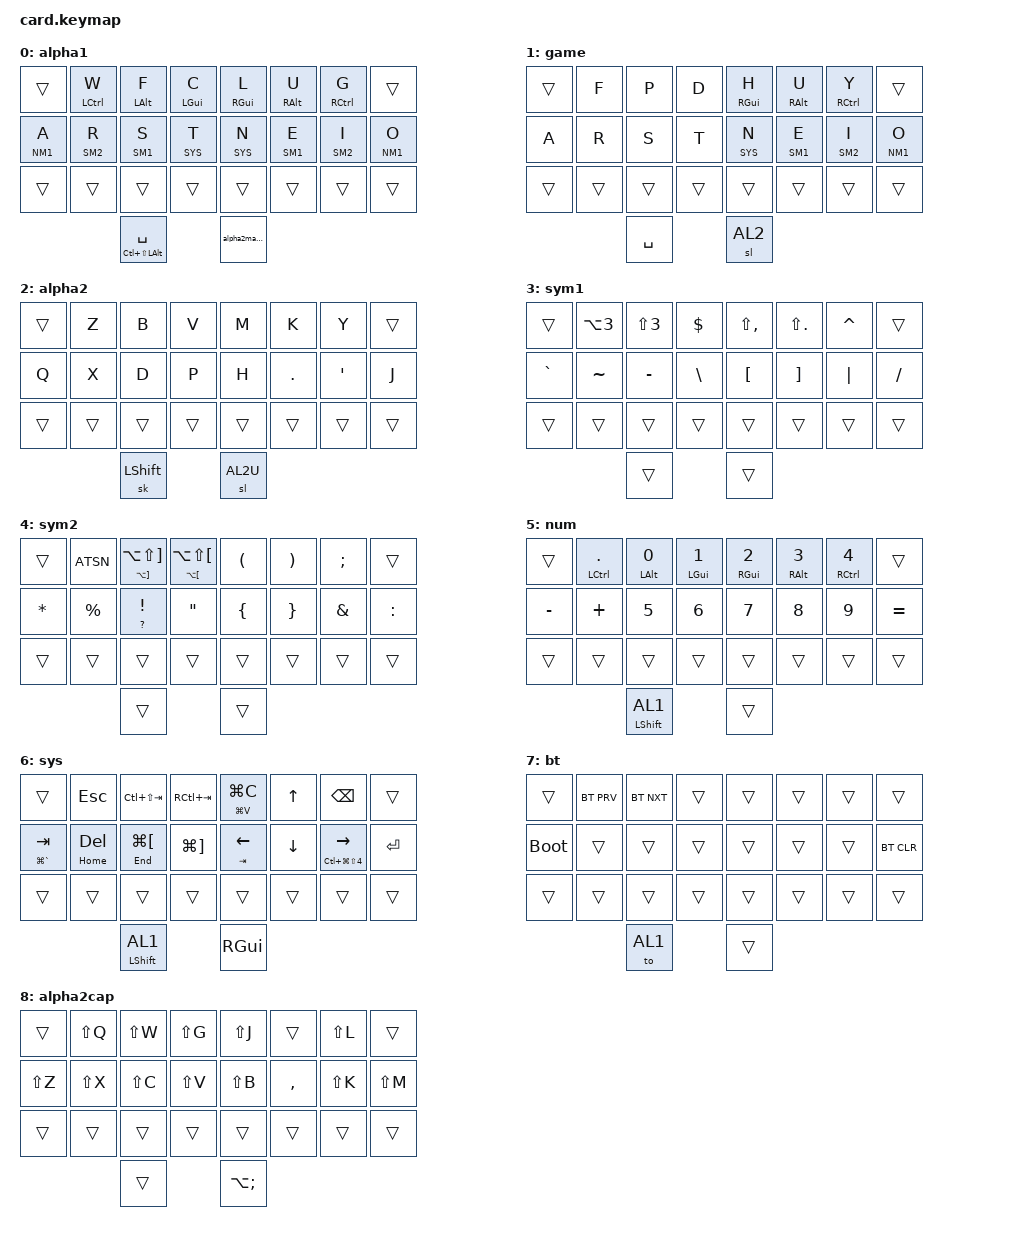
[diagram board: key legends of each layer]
/*
 * Copyright (c) 2020 The ZMK Contributors
 *
 * SPDX-License-Identifier: MIT
 */

#include <behaviors.dtsi>
#include <dt-bindings/zmk/keys.h>
#include <dt-bindings/zmk/bt.h>
#include <dt-bindings/zmk/mouse.h>



&mt {
    tapping-term-ms = <201>;
    flavor = "tap-preferred";
 };
&sk {
     release-after-ms = <2000>;
     quick-release;
 };
 
/* Layers */
#define AL1 0
#define GM 1
#define AL2 2
#define AL2U 8
#define SM1 3
#define SM2 4	
#define NM1 5	
#define SYS 6
#define BT 7	
/ { 
    combos {
        compatible = "zmk,combos";
        combo_game {
            timeout-ms = <30>;
	    key-positions = <2 3 4 5>;
            bindings = <&to GM>;
        };
        combo_sys {
            timeout-ms = <30>;
	    key-positions = <4 5 6>;
            bindings = <&to SYS>;
        };
        combo_caps {
            timeout-ms = <30>;
	    key-positions = <12 13 14>;
            bindings = <&caps_word>;
        };
        combo_bt  {
            timeout-ms = <10>;
            key-positions = <13 14>;
            bindings = <&to BT>;
	    layers = <SM1>; 
        };
        lalt {
            timeout-ms = <20>;
	    key-positions = <10 11>;
            bindings = <&kp LALT>; 
	    layers = <SYS>; 
        };
        lclk {
            timeout-ms = <20>;
	    key-positions = <12	13>;
            bindings = <&mkp LCLK>;
	    layers = <SYS>;
        };
        rclk {
            timeout-ms = <20>;
	    key-positions = <4 5>;
            bindings = <&mkp RCLK>;
	    layers = <SYS>;
        };


    };

    behaviors {
        hm: homerow_mods {
            compatible = "zmk,behavior-hold-tap";
            label = "HOMEROW_MODS";
            #binding-cells = <2>;
            tapping-term-ms = <300>;
            quick_tap_ms = <0>;
            flavor = "tap-preferred";
            bindings = <&kp>, <&kp>;
        };
        sr: shift_layer {
            compatible = "zmk,behavior-hold-tap";
            label = "SHIFT_LAYER";
            #binding-cells = <2>;
            tapping-term-ms = <300>;
            quick_tap_ms = <0>;
            flavor = "tap-preferred";
            bindings = <&kp>, <&to>;
	    retro-tap;
        };
        hl: homerow_layers {
            compatible = "zmk,behavior-hold-tap";
            label = "HOMEROW_LAYERS";
            #binding-cells = <2>;
            tapping-term-ms = <220>;
            quick_tap_ms = <0>;
            flavor = "tap-preferred";
            bindings = <&sl>, <&kp>;
        };
	td: tapdance {
            compatible = "zmk,behavior-hold-tap";
            label = "TAPDANCE";
            #binding-cells = <2>;
            tapping-term-ms = <190>;
            quick_tap_ms = <0>;
            flavor = "tap-preferred";
            bindings = <&kp>, <&kp>;
        };
	alpha2macro: behavior_macro_1 {
		compatible = "zmk,behavior-macro";
		label = "MACRO1";
		#binding-cells = <0>;
		bindings = < &sl AL2 >;
	};
    };
       keymap {
                compatible = "zmk,keymap";
                
       		alpha1 {
		bindings = <
		&trans 		&hm LCTL W 	&hm LALT F 	&hm LGUI C		&hm RGUI L 	&hm RALT U    		&hm RCTL G	&trans  
		&hl NM1 A	&hl SM2 R	&hl SM1 S	&hl SYS T 	 	&hl SYS N    	&hl SM1 E   		&hl SM2 I 	&hl NM1 O
		&trans	 	&trans 		&trans 		&trans      	&trans	    &trans 		&trans		&trans
								&mt LC(LS(LALT)) SPC	 		&alpha2macro
		>;
		};
       		game {
		bindings = <
		&trans 		&kp F 		&kp P 		&kp D			&hm RGUI H 	&hm RALT U    		&hm RCTL Y	&trans  
		&kp A		&kp R		&kp S		&kp T 		 	&hl SYS N    	&hl SM1 E   		&hl SM2  I 	&hl NM1 O
		&trans	 	&trans 		&trans 		&trans      	&trans	    &trans 		&trans		&trans
								&kp SPC	 		&sl AL2
		>;
		};
       		alpha2 {
		bindings = <
		&trans 	 	&kp Z 		&kp B		&kp V	 	 	&kp M    	&kp K			&kp Y 		&trans
		&kp Q	 	&kp X 		&kp D		&kp P 			&kp H 		&kp DOT			&kp SQT		&kp J 
		&trans	 	&trans 		&trans 		&trans      	&trans	    &trans 		&trans		&trans
								&sk LSHIFT	 		&sl AL2U
		>;
		};
		
       		sym1 {
		bindings = <
		&trans 		&kp LA(N3)   	&kp LS(N3)	&kp DLLR	    	&kp LS(COMMA)	&kp LS(DOT)		&kp CARET	&trans
		&kp GRAVE	&kp TILDE 	&kp MINUS      	&kp BSLH	 	&kp LBKT	&kp RBKT	 	&kp PIPE 	&kp SLASH
		&trans		&trans  	&trans		&trans  		&trans		&trans 			&trans  	&trans
							 	&trans		 	&trans
		>;
		};
		sym2 {
		bindings = <
		&trans		&kp ATSN	&td LA(RBKT) LA(LS(RBKT))	&td  LA(LBKT) LA(LS(LBKT))	&kp LPRN	&kp RPRN 	&kp SEMI 	&trans
		&kp STAR  	&kp PRCNT	&td QMARK EXCL       		&kp DQT   			&kp LBRC  	&kp RBRC	&kp AMPS	&kp COLON 
		&trans 		&trans 		&trans  			&trans 				&trans 		&trans 		&trans 		&trans   
						 				&trans				&trans

		>;
		};

		num {
		bindings = <
		&trans		&hm LCTL DOT 	&hm LALT N0	&hm LGUI N1 		&hm RGUI N2 	&hm RALT N3		&hm RCTL N4	&trans
		&kp MINUS	&kp PLUS 	&kp N5		&kp N6			&kp N7		&kp N8			&kp N9   	&kp EQUAL
		&trans	 	&trans 		&trans 		&trans      	&trans	    &trans 		&trans		&trans
								&sr LSHIFT AL1	 	 	&trans
		>;
		};

		sys {
		bindings = <
		&trans		 	&kp ESC			&kp LC(LS(TAB)) 	&kp RC(TAB)		&td LG(V) LG(C) 	&kp UP 		&kp BKSP 			&trans
		&td LG(GRAVE) TAB	&td HOME DEL		&td END LG(LBKT) 	&kp LG(RBKT)		&td TAB LEFT  		&kp DOWN 	&td  LC(LG(LS(N4))) RIGHT 	&kp RET 
		&trans	 	&trans 		&trans 		&trans      	&trans	    &trans 		&trans		&trans
									 		&sr LSHIFT AL1	 		&kp RGUI
		>;
		};

		bt {
		bindings = <
		&trans		&bt BT_PRV	&bt BT_NXT	&trans 			&trans 	&trans	&trans	&trans
		&bootloader  	&trans 		&trans 		&trans 			&trans 	&trans 	&trans	&bt BT_CLR
		&trans	 	&trans 		&trans 		&trans      	&trans	    &trans 		&trans		&trans
						 		&to AL1			&trans
		>;
		};

       		alpha2cap {
		bindings = <
		&trans 	 	&kp LS(Q)	&kp LS(W)	&kp LS(G) 	 	&kp LS(J)    	&trans		&kp LS(L)	&trans 
		&kp LS(Z) 	&kp LS(X) 	&kp LS(C)	&kp LS(V)		&kp LS(B)	&kp COMMA	&kp LS(K)	&kp LS(M) 
		&trans	 	&trans 		&trans 		&trans      	&trans	    &trans 		&trans		&trans
								&trans	 		&kp LA(SEMI)
		>;
		};
        
	};
};
